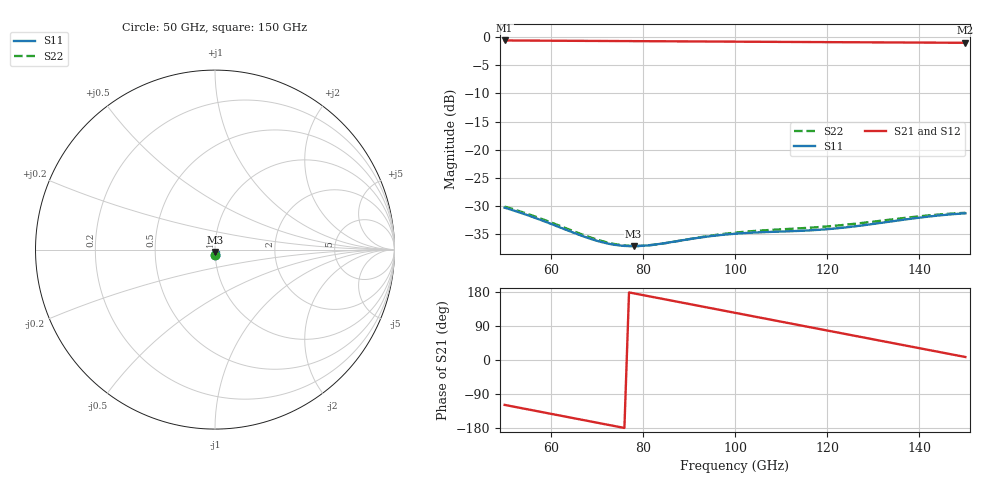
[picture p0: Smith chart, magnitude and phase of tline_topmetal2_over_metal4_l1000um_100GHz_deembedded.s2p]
! Created with skrf 2.2.0 (http://scikit-rf.org).
# GHz S DB R 50.0
! Port[1] = P1
! Port[2] = P2
!freq dBS11 angS11 dBS21 angS21 dBS12 angS12 dBS22 angS22
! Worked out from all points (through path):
!   101 points, 50 GHz to 150 GHz, reference 50 ohm
!   highest |S21| = -0.59 dB at 50 GHz (marker M1); lowest = -1.0 dB at 150 GHz (marker M2)
!   group delay of S21, straight-line fit = 6.49 ps
!   lowest |S11| = -37.1 dB at 78 GHz (marker M3), VSWR 1.03, Z = 50.2 - j1.37 ohm
!   |S11| at or under -10 dB: start of sweep to end of sweep
!   |S22| runs from -37.1 to -30.1 dB; largest |S21 - S12| = 1.1e-14
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50  -30.29 -86.1  -0.59 -118.5  -0.59 -118.5  -30.10 -86.7
54  -31.35 -91.2  -0.61 -127.8  -0.61 -127.8  -31.13 -92.0
59  -32.84 -95.3  -0.63 -139.5  -0.63 -139.5  -32.58 -96.5
63  -34.12 -96.4  -0.65 -148.9  -0.65 -148.9  -33.85 -97.9
67  -35.36 -94.8  -0.66 -158.3  -0.66 -158.3  -35.11 -96.8
73  -36.77 -87.6  -0.69 -172.3  -0.69 -172.3  -36.61 -90.1
78  -37.13 -79.4  -0.71 176.0  -0.71 176.0  -37.09 -81.8
84  -36.69 -71.8  -0.73 162.0  -0.73 162.0  -36.71 -73.4
88  -36.17 -69.3  -0.75 152.6  -0.75 152.6  -36.17 -70.3
92  -35.65 -68.5  -0.77 143.2  -0.77 143.2  -35.61 -69.1
100  -34.93 -69.7  -0.80 124.5  -0.80 124.5  -34.74 -69.9
105  -34.68 -70.8  -0.82 112.9  -0.82 112.9  -34.39 -71.1
109  -34.56 -71.3  -0.84 103.5  -0.84 103.5  -34.19 -71.8
113  -34.45 -71.4  -0.86 94.2  -0.86 94.2  -34.01 -72.3
117  -34.29 -71.0  -0.88 84.9  -0.88 84.9  -33.81 -72.5
121  -34.05 -70.4  -0.89 75.5  -0.89 75.5  -33.56 -72.5
125  -33.71 -70.0  -0.91 66.2  -0.91 66.2  -33.24 -72.7
129  -33.29 -70.1  -0.92 56.9  -0.92 56.9  -32.87 -73.3
134  -32.73 -71.2  -0.94 45.2  -0.94 45.2  -32.39 -74.7
142  -31.88 -75.1  -0.97 26.5  -0.97 26.5  -31.67 -78.9
146  -31.54 -78.0  -0.99 17.2  -0.99 17.2  -31.40 -81.6
150  -31.30 -81.3  -1.00 7.9  -1.00 7.9  -31.21 -84.7
